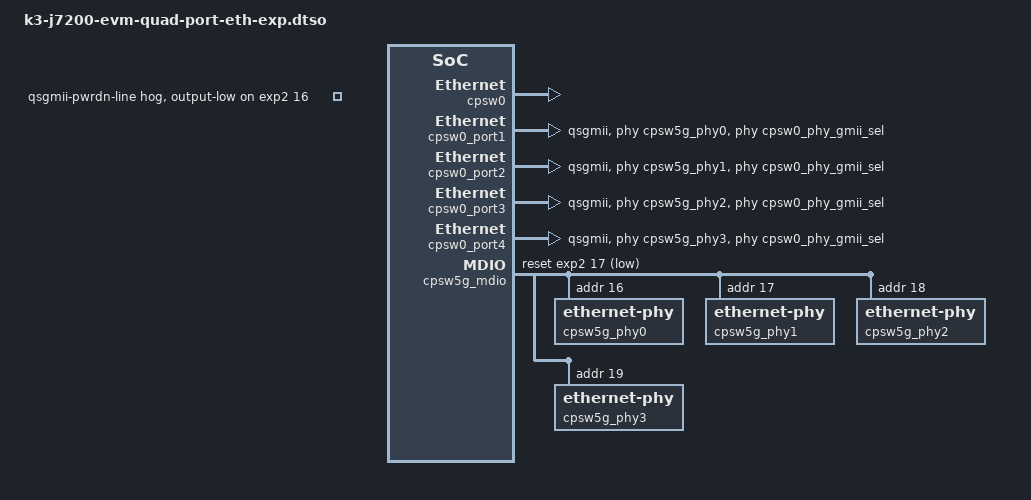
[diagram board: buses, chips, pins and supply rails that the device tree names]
// SPDX-License-Identifier: GPL-2.0
/**
 * DT Overlay for CPSW5G in QSGMII mode using J7 Quad Port ETH EXP Add-On Ethernet Card with
 * J7200 board.
 *
 * Copyright (C) 2023 Texas Instruments Incorporated - https://www.ti.com/
 */

/dts-v1/;
/plugin/;

#include <dt-bindings/gpio/gpio.h>
#include <dt-bindings/mux/ti-serdes.h>

#include "k3-pinctrl.h"

&{/} {
	aliases {
		ethernet1 = "/bus@100000/ethernet@c000000/ethernet-ports/port@1";
		ethernet2 = "/bus@100000/ethernet@c000000/ethernet-ports/port@2";
		ethernet3 = "/bus@100000/ethernet@c000000/ethernet-ports/port@3";
		ethernet4 = "/bus@100000/ethernet@c000000/ethernet-ports/port@4";
	};
};

&cpsw0 {
	status = "okay";
};

&cpsw0_port1 {
	status = "okay";
	phy-handle = <&cpsw5g_phy0>;
	phy-mode = "qsgmii";
	mac-address = [00 00 00 00 00 00];
	phys = <&cpsw0_phy_gmii_sel 1>;
};

&cpsw0_port2 {
	status = "okay";
	phy-handle = <&cpsw5g_phy1>;
	phy-mode = "qsgmii";
	mac-address = [00 00 00 00 00 00];
	phys = <&cpsw0_phy_gmii_sel 2>;
};

&cpsw0_port3 {
	status = "okay";
	phy-handle = <&cpsw5g_phy2>;
	phy-mode = "qsgmii";
	mac-address = [00 00 00 00 00 00];
	phys = <&cpsw0_phy_gmii_sel 3>;
};

&cpsw0_port4 {
	status = "okay";
	phy-handle = <&cpsw5g_phy3>;
	phy-mode = "qsgmii";
	mac-address = [00 00 00 00 00 00];
	phys = <&cpsw0_phy_gmii_sel 4>;
};

&cpsw5g_mdio {
	status = "okay";
	pinctrl-names = "default";
	pinctrl-0 = <&mdio0_pins_default>;
	reset-gpios = <&exp2 17 GPIO_ACTIVE_LOW>;
	reset-post-delay-us = <120000>;
	#address-cells = <1>;
	#size-cells = <0>;

	cpsw5g_phy0: ethernet-phy@16 {
		reg = <16>;
	};
	cpsw5g_phy1: ethernet-phy@17 {
		reg = <17>;
	};
	cpsw5g_phy2: ethernet-phy@18 {
		reg = <18>;
	};
	cpsw5g_phy3: ethernet-phy@19 {
		reg = <19>;
	};
};

&exp2 {
	qsgmii-line-hog {
		gpio-hog;
		gpios = <16 GPIO_ACTIVE_HIGH>;
		output-low;
		line-name = "qsgmii-pwrdn-line";
	};
};

&main_pmx0 {
	mdio0_pins_default: mdio0-default-pins {
		pinctrl-single,pins = <
			J721E_IOPAD(0x00a8, PIN_OUTPUT, 5) /* (W19) UART8_TXD.MDIO0_MDC */
			J721E_IOPAD(0x00a4, PIN_INPUT, 5) /* (W14) UART8_RXD.MDIO0_MDIO */
		>;
	};
};
